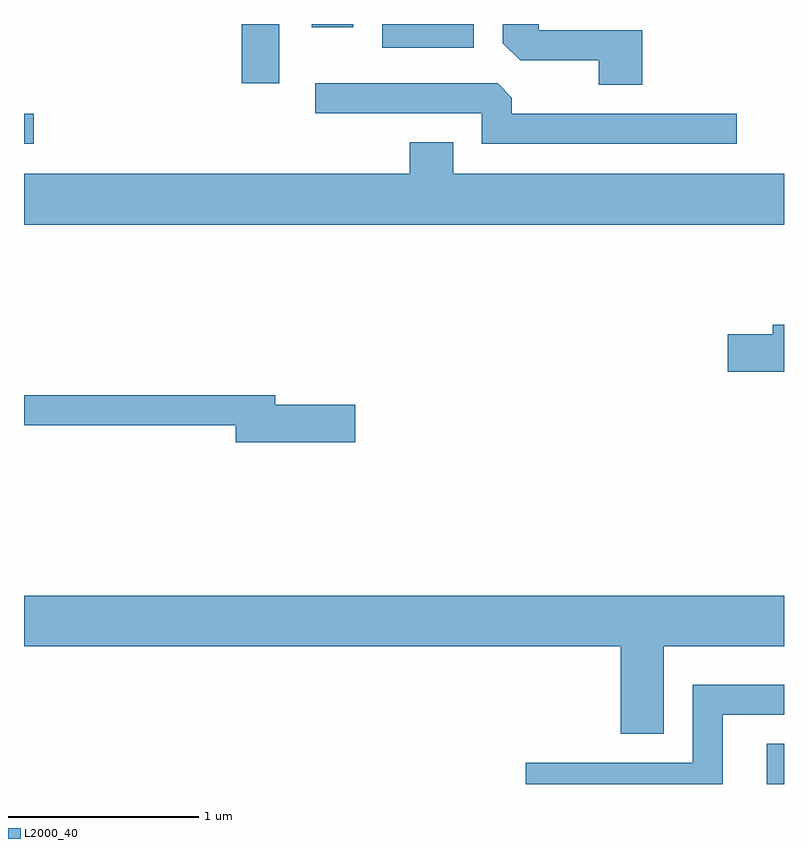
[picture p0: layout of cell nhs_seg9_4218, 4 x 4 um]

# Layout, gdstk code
import gdstk
lib = gdstk.Library(unit=1e-6, precision=1e-09)
def R(c, l, rs):  # rectangles x0, y0, x1, y1
    for r in rs: c.add(gdstk.rectangle(r[:2], r[2:], *l))
def P(c, l, *ps):  # polygons
    for p in ps: c.add(gdstk.Polygon(p, *l))
L2000_40 = (2000, 40)

nhs_seg9_4218 = lib.new_cell('nhs_seg9_4218')
R(nhs_seg9_4218, L2000_40, [(313.521,1984.432,313.611,1984.644), (309.611,1987.801,309.663,1987.959), (310.756,1988.121,310.954,1988.432), (311.496,1988.306,311.979,1988.432), (311.126,1988.416,311.344,1988.432)])
P(nhs_seg9_4218, L2000_40, [(312.864,1988.399),(312.319,1988.399),(312.319,1988.432),(312.131,1988.432),(312.131,1988.332),(312.222,1988.241),(312.636,1988.241),(312.636,1988.111),(312.864,1988.111)],
  [(313.363,1987.959),(312.179,1987.959),(312.179,1988.044),(312.104,1988.119),(311.143,1988.119),(311.143,1987.961),(312.021,1987.961),(312.021,1987.801),(313.363,1987.801)],
  [(313.611,1987.644),(311.869,1987.644),(311.869,1987.809),(311.641,1987.809),(311.641,1987.644),(309.611,1987.644),(309.611,1987.376),(313.611,1987.376)],
  [(313.611,1986.849),(313.551,1986.849),(313.551,1986.799),(313.316,1986.799),(313.316,1986.601),(313.611,1986.601)],
  [(311.354,1986.429),(310.934,1986.429),(310.934,1986.479),(309.611,1986.479),(309.611,1986.321),(310.726,1986.321),(310.726,1986.231),(311.354,1986.231)],
  [(312.979,1985.156),(313.611,1985.156),(313.611,1985.424),(309.611,1985.424),(309.611,1985.156),(312.751,1985.156),(312.751,1984.696),(312.979,1984.696)],
  [(313.289,1984.796),(313.611,1984.796),(313.611,1984.954),(313.131,1984.954),(313.131,1984.544),(312.253,1984.544),(312.253,1984.432),(313.289,1984.432)])

lib.write_gds('nhs_seg9_4218.gds')
